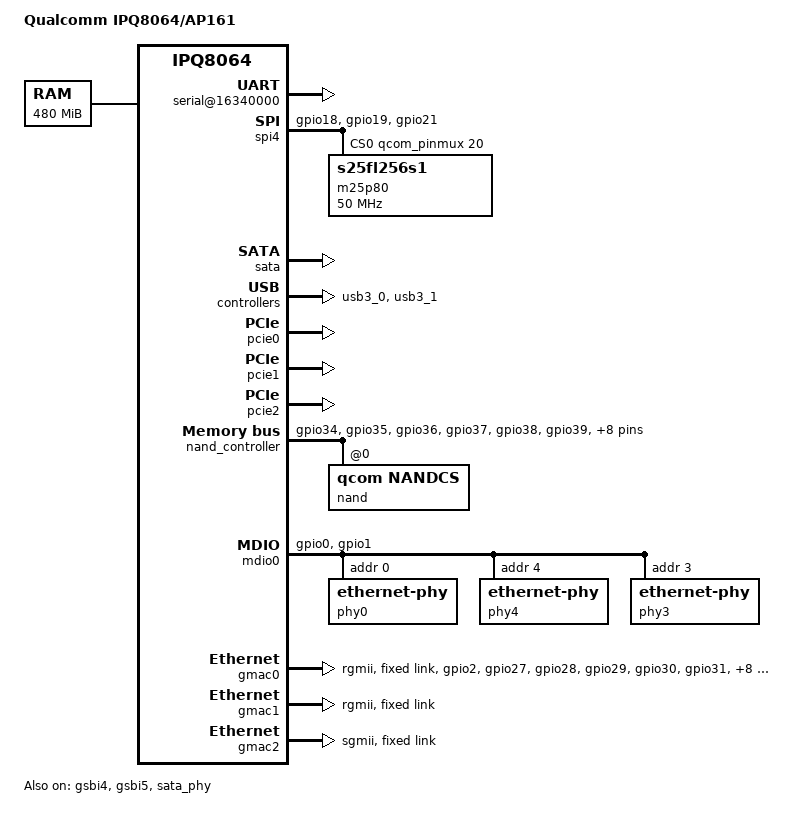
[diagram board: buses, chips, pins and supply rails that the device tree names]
#include "qcom-ipq8064-v1.0.dtsi"

/ {
	model = "Qualcomm IPQ8064/AP161";
	compatible = "qcom,ipq8064-ap161", "qcom,ipq8064";

	memory@0 {
		reg = <0x42000000 0x1e000000>;
		device_type = "memory";
	};

	reserved-memory {
		#address-cells = <1>;
		#size-cells = <1>;
		ranges;
		rsvd@41200000 {
			reg = <0x41200000 0x300000>;
			no-map;
		};
	};

	aliases {
		serial0 = &gsbi4_serial;
		mdio-gpio0 = &mdio0;
	};

	chosen {
		stdout-path = "serial0:115200n8";
	};
};

&qcom_pinmux {
	i2c4_pins: i2c4_pinmux {
		pins = "gpio12", "gpio13";
		function = "gsbi4";
		bias-disable;
	};

	spi_pins: spi_pins {
		mux {
			pins = "gpio18", "gpio19", "gpio21";
			function = "gsbi5";
			drive-strength = <10>;
			bias-none;
		};
	};
	nand_pins: nand_pins {
		disable {
			pins = "gpio34", "gpio35", "gpio36",
					"gpio37", "gpio38";
			function = "nand";
			drive-strength = <10>;
			bias-disable;
		};

		pullups {
			pins = "gpio39";
			function = "nand";
			drive-strength = <10>;
			bias-pull-up;
		};

		hold {
			pins = "gpio40", "gpio41", "gpio42",
					"gpio43", "gpio44", "gpio45",
					"gpio46", "gpio47";
			function = "nand";
			drive-strength = <10>;
			bias-bus-hold;
		};
	};

	mdio0_pins: mdio0_pins {
		mux {
			pins = "gpio0", "gpio1";
			function = "mdio";
			drive-strength = <8>;
			bias-disable;
		};
	};

	rgmii2_pins: rgmii2_pins {
		mux {
			pins = "gpio2", "gpio27", "gpio28",
				"gpio29", "gpio30", "gpio31",
				"gpio32", "gpio51", "gpio52",
				"gpio59", "gpio60", "gpio61",
				"gpio62" , "gpio66";
			function = "rgmii2";
			drive-strength = <8>;
			bias-disable;
		};
	};
};

&gsbi4 {
	qcom,mode = <GSBI_PROT_I2C_UART>;
	status = "okay";
	serial@16340000 {
		status = "okay";
	};

	/*
	* The i2c device on gsbi4 should not be enabled.
	* On ipq806x designs gsbi4 i2c is meant for exclusive
	* RPM usage. Turning this on in kernel manifests as
	* i2c failure for the RPM.
	*/
};

&gsbi5 {
	qcom,mode = <GSBI_PROT_SPI>;
	status = "okay";

	spi4: spi@1a280000 {
		status = "okay";
		spi-max-frequency = <50000000>;

		pinctrl-0 = <&spi_pins>;
		pinctrl-names = "default";

		cs-gpios = <&qcom_pinmux 20 0>;

		m25p80@0 {
			compatible = "s25fl256s1";
			#address-cells = <1>;
			#size-cells = <1>;
			spi-max-frequency = <50000000>;
			reg = <0>;

			partitions {
				compatible = "qcom,smem";
			};
		};
	};
};

&sata_phy {
	status = "okay";
};

&sata {
	status = "okay";
};

&usb3_0 {
	status = "okay";
};

&usb3_1 {
	status = "okay";
};

&pcie0 {
	status = "okay";
};

&pcie1 {
	status = "okay";
	force_gen1 = <1>;
};

&pcie2 {
	status = "okay";
};

&nand_controller {
	status = "okay";

	pinctrl-0 = <&nand_pins>;
	pinctrl-names = "default";

	nand@0 {
		reg = <0>;
		compatible = "qcom,nandcs";

		nand-ecc-strength = <4>;
		nand-bus-width = <8>;
		nand-ecc-step-size = <512>;

		partitions {
			compatible = "qcom,smem";
		};
	};
};

&mdio0 {
	status = "okay";

	pinctrl-0 = <&mdio0_pins>;
	pinctrl-names = "default";

	phy0: ethernet-phy@0 {
		reg = <0>;
		qca,ar8327-initvals = <
			0x00004 0x7600000   /* PAD0_MODE */
			0x00008 0x1000000   /* PAD5_MODE */
			0x0000c 0x20080     /* PAD6_MODE */
			0x000e4 0x6a545     /* MAC_POWER_SEL */
			0x000e0 0xc74164de  /* SGMII_CTRL */
			0x0007c 0x4e        /* PORT0_STATUS */
			0x00094 0x4e        /* PORT6_STATUS */
			>;
	};

	phy4: ethernet-phy@4 {
		reg = <4>;
		qca,phy-rgmii-en;
		qca,txclk-delay-en;
		qca,rxclk-delay-en;
	};

	phy3: ethernet-phy@3 {
		device_type = "ethernet-phy";
		reg = <3>;
	};
};

&gmac0 {
	status = "okay";
	phy-mode = "rgmii";
	qcom,id = <0>;

	pinctrl-0 = <&rgmii2_pins>;
	pinctrl-names = "default";
	mdiobus = <&mdio0>;

	fixed-link {
		speed = <1000>;
		full-duplex;
	};
};

&gmac1 {
	status = "okay";
	phy-mode = "rgmii";
	qcom,id = <1>;
	mdiobus = <&mdio0>;

	fixed-link {
		speed = <1000>;
		full-duplex;
	};
};

&gmac2 {
	status = "okay";
	phy-mode = "sgmii";
	qcom,id = <2>;
	mdiobus = <&mdio0>;

	fixed-link {
		speed = <1000>;
		full-duplex;
	};
};

&adm_dma {
	status = "okay";
};
